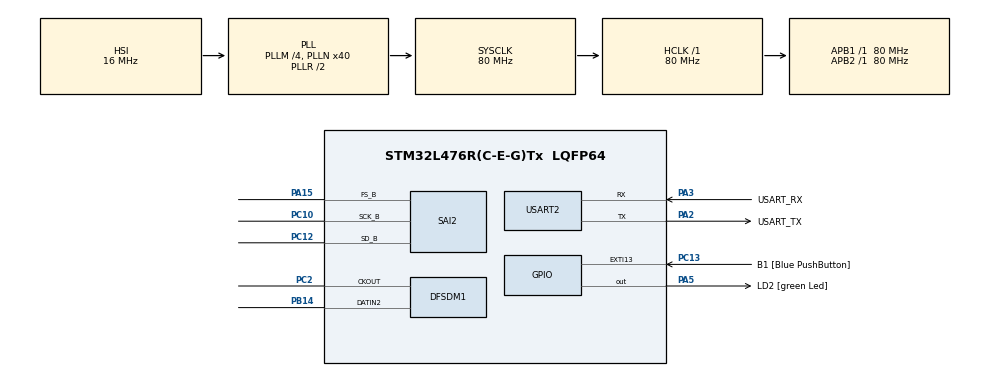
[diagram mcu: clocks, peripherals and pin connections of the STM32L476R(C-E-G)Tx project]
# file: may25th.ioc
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DFSDM1.Divider=25
DFSDM1.DmaMode_reg_FIL0=ENABLE
DFSDM1.FastMode_reg_FIL0=ENABLE
DFSDM1.Filter_regChannel_FIL0=DFSDM_CHANNEL_2
DFSDM1.Fosr_FIL0=67
Dma.DFSDM1_FLT0.1.Direction=DMA_PERIPH_TO_MEMORY
Dma.DFSDM1_FLT0.1.Instance=DMA1_Channel4
Dma.DFSDM1_FLT0.1.MemDataAlignment=DMA_MDATAALIGN_WORD
Dma.DFSDM1_FLT0.1.MemInc=DMA_MINC_ENABLE
Dma.DFSDM1_FLT0.1.Mode=DMA_CIRCULAR
Dma.DFSDM1_FLT0.1.PeriphDataAlignment=DMA_PDATAALIGN_WORD
Dma.DFSDM1_FLT0.1.PeriphInc=DMA_PINC_DISABLE
Dma.DFSDM1_FLT0.1.Priority=DMA_PRIORITY_LOW
Dma.Request0=SAI2_B
Dma.Request1=DFSDM1_FLT0
Dma.SAI2_B.0.Direction=DMA_MEMORY_TO_PERIPH
Dma.SAI2_B.0.Instance=DMA1_Channel7
Dma.SAI2_B.0.MemDataAlignment=DMA_MDATAALIGN_HALFWORD
Dma.SAI2_B.0.MemInc=DMA_MINC_ENABLE
Dma.SAI2_B.0.Mode=DMA_CIRCULAR
Dma.SAI2_B.0.PeriphDataAlignment=DMA_PDATAALIGN_HALFWORD
Dma.SAI2_B.0.PeriphInc=DMA_PINC_DISABLE
Dma.SAI2_B.0.Priority=DMA_PRIORITY_LOW
Mcu.Family=STM32L4
Mcu.Name=STM32L476R(C-E-G)Tx
Mcu.Package=LQFP64
NVIC.DMA1_Channel4_IRQn=true\:0\:0\:false\:false\:true\:false\:true\:true
NVIC.DMA1_Channel7_IRQn=true\:0\:0\:false\:false\:true\:false\:true\:true
NVIC.PriorityGroup=NVIC_PRIORITYGROUP_4
PA13\ (JTMS-SWDIO).GPIO_Label=TMS
PA13\ (JTMS-SWDIO).Mode=Serial_Wire
PA13\ (JTMS-SWDIO).Signal=SYS_JTMS-SWDIO
PA14\ (JTCK-SWCLK).GPIO_Label=TCK
PA14\ (JTCK-SWCLK).Mode=Serial_Wire
PA14\ (JTCK-SWCLK).Signal=SYS_JTCK-SWCLK
PA15\ (JTDI).Mode=SAI_B_Master
PA15\ (JTDI).Signal=SAI2_FS_B
PA2.GPIO_Label=USART_TX
PA2.GPIO_Mode=GPIO_MODE_AF_PP
PA2.GPIO_PuPd=GPIO_NOPULL
PA2.GPIO_Speed=GPIO_SPEED_FREQ_VERY_HIGH
PA2.Mode=Asynchronous
PA2.Signal=USART2_TX
PA3.GPIO_Label=USART_RX
PA3.GPIO_Mode=GPIO_MODE_AF_PP
PA3.GPIO_PuPd=GPIO_NOPULL
PA3.GPIO_Speed=GPIO_SPEED_FREQ_VERY_HIGH
PA3.Mode=Asynchronous
PA3.Signal=USART2_RX
PA5.GPIO_Label=LD2 [green Led]
PA5.GPIO_ModeDefaultOutputPP=GPIO_MODE_OUTPUT_PP
PA5.GPIO_PuPd=GPIO_NOPULL
PA5.GPIO_Speed=GPIO_SPEED_FREQ_LOW
PA5.Signal=GPIO_Output
PB14.Signal=S_DATAIN2DFSDM1
PB3\ (JTDO-TRACESWO).GPIO_Label=SWO
PB3\ (JTDO-TRACESWO).Signal=SYS_JTDO-SWO
PC10.Mode=SAI_B_Master
PC10.Signal=SAI2_SCK_B
PC12.Mode=SAI_B_Master
PC12.Signal=SAI2_SD_B
PC13.GPIO_Label=B1 [Blue PushButton]
PC13.GPIO_ModeDefaultEXTI=GPIO_MODE_IT_FALLING
PC13.GPIO_PuPd=GPIO_NOPULL
PC13.Signal=GPXTI13
PC14-OSC32_IN\ (PC14).Mode=LSE-External-Oscillator
PC14-OSC32_IN\ (PC14).Signal=RCC_OSC32_IN
PC15-OSC32_OUT\ (PC15).Mode=LSE-External-Oscillator
PC15-OSC32_OUT\ (PC15).Signal=RCC_OSC32_OUT
PC2.Signal=S_CKOUTDFSDM1
PH0-OSC_IN\ (PH0).Mode=HSE-External-Clock-Source
PH0-OSC_IN\ (PH0).Signal=RCC_OSC_IN
PH1-OSC_OUT\ (PH1).Signal=RCC_OSC_OUT
ProjectManager.HeapSize=0x200
ProjectManager.StackSize=0x400
ProjectManager.TargetToolchain=STM32CubeIDE
RCC.ADCFreq_Value=86000000
RCC.AHBFreq_Value=80000000
RCC.APB1Freq_Value=80000000
RCC.APB1TimFreq_Value=80000000
RCC.APB2Freq_Value=80000000
RCC.APB2TimFreq_Value=80000000
RCC.CortexFreq_Value=80000000
RCC.HCLKFreq_Value=80000000
RCC.HSE_VALUE=8000000
RCC.HSI_VALUE=16000000
RCC.MSI_VALUE=4000000
RCC.PLLM=4
RCC.PLLN=40
RCC.PLLSAI1N=43
RCC.PLLSAI2N=43
RCC.PLLSourceVirtual=RCC_PLLSOURCE_HSI
RCC.SYSCLKFreq_VALUE=80000000
RCC.SYSCLKSource=RCC_SYSCLKSOURCE_PLLCLK
RCC.USBFreq_Value=86000000
RCC.VCOOutputFreq_Value=160000000
SAI2.AudioFrequency-SAI_B_Master=SAI_AUDIO_FREQUENCY_48K
SAI2.ErrorAudioFreq-SAI_B_Master=-0.01 %
SAI2.InitProtocol-SAI_B_Master=Enable
SAI2.Instance-SAI_B_Master=SAI$Index_Block_B
SAI2.MClockEnable-SAI_B_Master=SAI_MASTERCLOCK_DISABLE
SAI2.MonoStereoMode-SAI_B_Master=SAI_STEREOMODE
SAI2.OutputDrive-SAI_B_Master=SAI_OUTPUTDRIVE_ENABLE
SAI2.RealAudioFreq-SAI_B_Master=47.991 KHz
SAI2.VirtualMode-SAI_B_Master=VM_MASTER
SAI2.VirtualProtocol-SAI_B_BASIC=VM_BASIC_PROTOCOL
SH.S_CKOUTDFSDM1.0=DFSDM1_CKOUT,PDM_SPI_input_from_ch2_and_internal_clock
SH.S_DATAIN2DFSDM1.0=DFSDM1_DATIN2,PDM_SPI_input_from_ch2_and_internal_clock
USART2.VirtualMode-Asynchronous=VM_ASYNC
VP_SAI2_VP_$IpInstance_SAIB_SAI_BASIC.Mode=SAI_B_BASIC
board=NUCLEO-L476RG

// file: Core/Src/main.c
/* USER CODE BEGIN Header */
/**
  ******************************************************************************
  * @file           : main.c
  * @brief          : Live DFSDM microphone to SAI2B/MAX98357 audio
  *                   Hardware: STM32 NUCLEO-L476RG + MAX98357 I2S Amplifier
  ******************************************************************************
  */
/* USER CODE END Header */
#include "main.h"

/* USER CODE BEGIN Includes */
#include <stdint.h>
#include <stdio.h>
#include <string.h>
/* USER CODE END Includes */

/* USER CODE BEGIN PD */
#define MIC_BUFFER_SAMPLES 256U
#define AUDIO_FRAMES       256U
#define FIFO_SAMPLES       4096U
#define FIFO_MASK          (FIFO_SAMPLES - 1U)
#define START_SAMPLES      1024U
#define MIC_GAIN           1.0f
#define OUTPUT_LIMIT       3000 /* Conservative initial PCM peak limit. */
#define REPORT_PERIOD_MS   500U
/* USER CODE END PD */

DFSDM_Filter_HandleTypeDef hdfsdm1_filter0;
DFSDM_Channel_HandleTypeDef hdfsdm1_channel2;
DMA_HandleTypeDef hdma_dfsdm1_flt0;

SAI_HandleTypeDef hsai_BlockB2;
DMA_HandleTypeDef hdma_sai2_b;

UART_HandleTypeDef huart2;

/* USER CODE BEGIN PV */
static int32_t mic_buffer[MIC_BUFFER_SAMPLES];
static int16_t audioBuffer[AUDIO_FRAMES * 2U];
static int16_t sample_fifo[FIFO_SAMPLES];
static volatile uint32_t fifo_write, fifo_read;
static float resample_phase, resample_step;
static float mic_rate, output_rate;
static float dc_input_previous, dc_output_previous;
static volatile uint32_t mic_blocks, tx_blocks;
static volatile uint32_t mic_errors, sai_errors;
static volatile uint32_t fifo_overruns, fifo_underruns, clipped_samples;
static volatile uint32_t mic_peak;
/* Both DMA IRQs have priority 0 in this project: callbacks cannot nest. */
/* USER CODE END PV */

void SystemClock_Config(void);
static void MX_GPIO_Init(void);
static void MX_DMA_Init(void);
static void MX_USART2_UART_Init(void);
static void MX_SAI2_Init(void);
static void MX_DFSDM1_Init(void);
/* USER CODE BEGIN PFP */
static void UART_Print(const char *text);
static void CaptureMicBlock(uint32_t start);
static void FillAudioHalf(uint32_t first_frame);
static void ConfigureResampling(void);
/* USER CODE END PFP */

/* USER CODE BEGIN 0 */
static void UART_Print(const char *text)
{
    (void)HAL_UART_Transmit(&huart2, (uint8_t *)text,
                           (uint16_t)strlen(text), 100U);
}

static void ConfigureResampling(void)
{
    /* Existing configuration: system-clock CKOUT, internal SPI clock,
       fast continuous conversion. First conversion includes filter settling. */
    mic_rate = (float)HAL_RCC_GetSysClockFreq() /
               ((float)hdfsdm1_channel2.Init.OutputClock.Divider *
                (float)hdfsdm1_filter0.Init.FilterParam.Oversampling *
                (float)hdfsdm1_filter0.Init.FilterParam.IntOversampling);
    uint32_t divider = hsai_BlockB2.Init.Mckdiv;
    uint32_t sai_clock = HAL_RCCEx_GetPeriphCLKFreq(RCC_PERIPHCLK_SAI2);
    /* STM32L476 with master divider enabled: MCLK = 256 * frame rate.
       MCKDIV=0 is the no-division case; otherwise clock divisor = 2*MCKDIV. */
    output_rate = (float)sai_clock /
                  (256.0f * (divider ? (2.0f * (float)divider) : 1.0f));
    if (mic_rate < 1.0f || output_rate < 1.0f) Error_Handler();
    resample_step = mic_rate / output_rate;
}

static void CaptureMicBlock(uint32_t start)
{
    uint32_t peak = 0U;
    for (uint32_t i = start; i < start + MIC_BUFFER_SAMPLES / 2U; ++i)
    {
        /* Full-word DMA reads FLTRDATAR. Low 8 bits contain metadata;
           signed audio occupies bits 31:8. Shift again for initial gain. */
        float x = (float)(mic_buffer[i] >> 8) * 0.5f;
        float y = x - dc_input_previous + 0.995f * dc_output_previous;
        dc_input_previous = x;
        dc_output_previous = y;
        y *= MIC_GAIN;
        uint32_t level = (uint32_t)(y < 0.0f ? -y : y);
        if (level > peak) peak = level;
        if (y > (float)OUTPUT_LIMIT) { y = OUTPUT_LIMIT; clipped_samples++; }
        if (y < -(float)OUTPUT_LIMIT) { y = -OUTPUT_LIMIT; clipped_samples++; }
        uint32_t w = fifo_write;
        if ((uint32_t)(w - fifo_read) >= FIFO_SAMPLES)
        {
            /* Drop new data if full; never overwrite unread samples. */
            fifo_overruns++;
            continue;
        }
        sample_fifo[w & FIFO_MASK] = (int16_t)y;
        __DMB();
        fifo_write = w + 1U;
    }
    if (peak > mic_peak) mic_peak = peak;
    mic_blocks++;
}

static void FillAudioHalf(uint32_t first_frame)
{
    uint32_t r = fifo_read;
    uint32_t w = fifo_write;
    float phase = resample_phase;
    /* Read only completed microphone data; refill only a completed TX half.
       Fractional interpolation compensates for the different clock rates. */
    for (uint32_t i = 0; i < AUDIO_FRAMES / 2U; ++i)
    {
        int16_t sample = 0;
        uint32_t advance = (uint32_t)(phase + resample_step);
        uint32_t required = advance > 1U ? advance : 2U;
        if ((uint32_t)(w - r) >= required)
        {
            float a = (float)sample_fifo[r & FIFO_MASK];
            float b = (float)sample_fifo[(r + 1U) & FIFO_MASK];
            sample = (int16_t)(a + (b - a) * phase);
            phase += resample_step;
            uint32_t consumed = (uint32_t)phase;
            r += consumed;
            phase -= (float)consumed;
        }
        else
        {
            fifo_underruns++;
            phase = 0.0f;
        }
        uint32_t slot = (first_frame + i) * 2U;
        audioBuffer[slot] = sample;
        audioBuffer[slot + 1U] = sample;
    }
    resample_phase = phase;
    __DMB();
    fifo_read = r;
}
/* USER CODE END 0 */

int main(void)
{

  /* MCU Configuration--------------------------------------------------------*/

  /* Reset of all peripherals, Initializes the Flash interface and the Systick. */
  HAL_Init();

  /* Configure the system clock */
  SystemClock_Config();

  /* Initialize all configured peripherals */
  MX_GPIO_Init();
  MX_DMA_Init();
  MX_USART2_UART_Init();
  MX_SAI2_Init();
  MX_DFSDM1_Init();
  /* USER CODE BEGIN 2 */
UART_Print("\r\nMIC -> DFSDM -> SAI2B -> MAX98357\r\n");
  ConfigureResampling();
  char message[180];
  snprintf(message, sizeof(message), "Capture ~%lu Hz; playback ~%lu Hz\r\n",
           (unsigned long)(mic_rate + 0.5f),
           (unsigned long)(output_rate + 0.5f));
  UART_Print(message);

  if (HAL_DFSDM_FilterRegularStart_DMA(&hdfsdm1_filter0, mic_buffer,
                                      MIC_BUFFER_SAMPLES) != HAL_OK)
  {
      UART_Print("ERROR: DFSDM DMA start failed\r\n");
      Error_Handler();
  }
  uint32_t wait_started = HAL_GetTick();
  while ((uint32_t)(fifo_write - fifo_read) < START_SAMPLES)
  {
      if ((uint32_t)(HAL_GetTick() - wait_started) > 1000U)
      {
          UART_Print("ERROR: microphone DMA did not fill startup buffer\r\n");
          Error_Handler();
      }
  }
  /* IRQs are briefly masked while both TX halves are filled before DMA starts. */
  uint32_t irq_state = __get_PRIMASK();
  __disable_irq();
  FillAudioHalf(0U);
  FillAudioHalf(AUDIO_FRAMES / 2U);
  __set_PRIMASK(irq_state);
  if (HAL_SAI_Transmit_DMA(&hsai_BlockB2, (uint8_t *)audioBuffer,
                           AUDIO_FRAMES * 2U) != HAL_OK)
  {
      UART_Print("ERROR: SAI DMA start failed\r\n");
      Error_Handler();
  }
  UART_Print("Live audio started. UART: 115200, 8N1.\r\n");
  uint32_t last_report = HAL_GetTick();
/* USER CODE END 2 */

  /* Infinite loop */
  while (1)
  {

    /* USER CODE BEGIN 3 */
if ((uint32_t)(HAL_GetTick() - last_report) >= REPORT_PERIOD_MS)
      {
          last_report = HAL_GetTick();
          uint32_t saved = __get_PRIMASK();
          __disable_irq();
          uint32_t mic = mic_blocks, tx = tx_blocks;
          uint32_t level = mic_peak;
          uint32_t fill = fifo_write - fifo_read;
          uint32_t under = fifo_underruns, over = fifo_overruns;
          uint32_t me = mic_errors, se = sai_errors, clip = clipped_samples;
          mic_peak = 0U;
          __set_PRIMASK(saved);
          snprintf(message, sizeof(message),
                   "mic=%lu tx=%lu peak=%lu fifo=%lu under=%lu over=%lu clip=%lu err=%lu/%lu\r\n",
                   (unsigned long)mic, (unsigned long)tx, (unsigned long)level,
                   (unsigned long)fill, (unsigned long)under, (unsigned long)over,
                   (unsigned long)clip, (unsigned long)me, (unsigned long)se);
          UART_Print(message);
          HAL_GPIO_TogglePin(LD2_GPIO_Port, LD2_Pin);
      }
  }
/* USER CODE END 3 */
}

void SystemClock_Config(void)
{
  RCC_OscInitTypeDef RCC_OscInitStruct = {0};
  RCC_ClkInitTypeDef RCC_ClkInitStruct = {0};

  /** Configure the main internal regulator output voltage
  */
  if (HAL_PWREx_ControlVoltageScaling(PWR_REGULATOR_VOLTAGE_SCALE1) != HAL_OK)
  {
    Error_Handler();
  }

  /** Initializes the RCC Oscillators according to the specified parameters
  * in the RCC_OscInitTypeDef structure.
  */
  RCC_OscInitStruct.OscillatorType = RCC_OSCILLATORTYPE_HSI;
  RCC_OscInitStruct.HSIState = RCC_HSI_ON;
  RCC_OscInitStruct.HSICalibrationValue = RCC_HSICALIBRATION_DEFAULT;
  RCC_OscInitStruct.PLL.PLLState = RCC_PLL_ON;
  RCC_OscInitStruct.PLL.PLLSource = RCC_PLLSOURCE_HSI;
  RCC_OscInitStruct.PLL.PLLM = 4;
  RCC_OscInitStruct.PLL.PLLN = 40;
  RCC_OscInitStruct.PLL.PLLP = RCC_PLLP_DIV7;
  RCC_OscInitStruct.PLL.PLLQ = RCC_PLLQ_DIV2;
  RCC_OscInitStruct.PLL.PLLR = RCC_PLLR_DIV2;
  if (HAL_RCC_OscConfig(&RCC_OscInitStruct) != HAL_OK)
  {
    Error_Handler();
  }

  /** Initializes the CPU, AHB and APB buses clocks
  */
  RCC_ClkInitStruct.ClockType = RCC_CLOCKTYPE_HCLK|RCC_CLOCKTYPE_SYSCLK
                              |RCC_CLOCKTYPE_PCLK1|RCC_CLOCKTYPE_PCLK2;
  RCC_ClkInitStruct.SYSCLKSource = RCC_SYSCLKSOURCE_PLLCLK;
  RCC_ClkInitStruct.AHBCLKDivider = RCC_SYSCLK_DIV1;
  RCC_ClkInitStruct.APB1CLKDivider = RCC_HCLK_DIV1;
  RCC_ClkInitStruct.APB2CLKDivider = RCC_HCLK_DIV1;

  if (HAL_RCC_ClockConfig(&RCC_ClkInitStruct, FLASH_LATENCY_4) != HAL_OK)
  {
    Error_Handler();
  }
}

static void MX_DFSDM1_Init(void)
{

  hdfsdm1_filter0.Instance = DFSDM1_Filter0;
  hdfsdm1_filter0.Init.RegularParam.Trigger = DFSDM_FILTER_SW_TRIGGER;
  hdfsdm1_filter0.Init.RegularParam.FastMode = ENABLE;
  hdfsdm1_filter0.Init.RegularParam.DmaMode = ENABLE;
  hdfsdm1_filter0.Init.FilterParam.SincOrder = DFSDM_FILTER_FASTSINC_ORDER;
  hdfsdm1_filter0.Init.FilterParam.Oversampling = 67;
  hdfsdm1_filter0.Init.FilterParam.IntOversampling = 1;
  if (HAL_DFSDM_FilterInit(&hdfsdm1_filter0) != HAL_OK)
  {
    Error_Handler();
  }
  hdfsdm1_channel2.Instance = DFSDM1_Channel2;
  hdfsdm1_channel2.Init.OutputClock.Activation = ENABLE;
  hdfsdm1_channel2.Init.OutputClock.Selection = DFSDM_CHANNEL_OUTPUT_CLOCK_SYSTEM;
  hdfsdm1_channel2.Init.OutputClock.Divider = 25;
  hdfsdm1_channel2.Init.Input.Multiplexer = DFSDM_CHANNEL_EXTERNAL_INPUTS;
  hdfsdm1_channel2.Init.Input.DataPacking = DFSDM_CHANNEL_STANDARD_MODE;
  hdfsdm1_channel2.Init.Input.Pins = DFSDM_CHANNEL_SAME_CHANNEL_PINS;
  hdfsdm1_channel2.Init.SerialInterface.Type = DFSDM_CHANNEL_SPI_RISING;
  hdfsdm1_channel2.Init.SerialInterface.SpiClock = DFSDM_CHANNEL_SPI_CLOCK_INTERNAL;
  hdfsdm1_channel2.Init.Awd.FilterOrder = DFSDM_CHANNEL_FASTSINC_ORDER;
  hdfsdm1_channel2.Init.Awd.Oversampling = 1;
  hdfsdm1_channel2.Init.Offset = 0;
  hdfsdm1_channel2.Init.RightBitShift = 0x00;
  if (HAL_DFSDM_ChannelInit(&hdfsdm1_channel2) != HAL_OK)
  {
    Error_Handler();
  }
  if (HAL_DFSDM_FilterConfigRegChannel(&hdfsdm1_filter0, DFSDM_CHANNEL_2, DFSDM_CONTINUOUS_CONV_ON) != HAL_OK)
  {
    Error_Handler();
  }

}

static void MX_SAI2_Init(void)
{

  hsai_BlockB2.Instance = SAI2_Block_B;
  hsai_BlockB2.Init.AudioMode = SAI_MODEMASTER_TX;
  hsai_BlockB2.Init.Synchro = SAI_ASYNCHRONOUS;
  hsai_BlockB2.Init.OutputDrive = SAI_OUTPUTDRIVE_ENABLE;
  hsai_BlockB2.Init.NoDivider = SAI_MASTERDIVIDER_ENABLE;
  hsai_BlockB2.Init.FIFOThreshold = SAI_FIFOTHRESHOLD_EMPTY;
  hsai_BlockB2.Init.AudioFrequency = SAI_AUDIO_FREQUENCY_48K;
  hsai_BlockB2.Init.SynchroExt = SAI_SYNCEXT_DISABLE;
  hsai_BlockB2.Init.MonoStereoMode = SAI_STEREOMODE;
  hsai_BlockB2.Init.CompandingMode = SAI_NOCOMPANDING;
  hsai_BlockB2.Init.TriState = SAI_OUTPUT_NOTRELEASED;
  if (HAL_SAI_InitProtocol(&hsai_BlockB2, SAI_I2S_STANDARD, SAI_PROTOCOL_DATASIZE_16BIT, 2) != HAL_OK)
  {
    Error_Handler();
  }

}

static void MX_USART2_UART_Init(void)
{

  huart2.Instance = USART2;
  huart2.Init.BaudRate = 115200;
  huart2.Init.WordLength = UART_WORDLENGTH_8B;
  huart2.Init.StopBits = UART_STOPBITS_1;
  huart2.Init.Parity = UART_PARITY_NONE;
  huart2.Init.Mode = UART_MODE_TX_RX;
  huart2.Init.HwFlowCtl = UART_HWCONTROL_NONE;
  huart2.Init.OverSampling = UART_OVERSAMPLING_16;
  huart2.Init.OneBitSampling = UART_ONE_BIT_SAMPLE_DISABLE;
  huart2.AdvancedInit.AdvFeatureInit = UART_ADVFEATURE_NO_INIT;
  if (HAL_UART_Init(&huart2) != HAL_OK)
  {
    Error_Handler();
  }

}

static void MX_DMA_Init(void)
{

  /* DMA controller clock enable */
  __HAL_RCC_DMA1_CLK_ENABLE();

  /* DMA interrupt init */
  /* DMA1_Channel4_IRQn interrupt configuration */
  HAL_NVIC_SetPriority(DMA1_Channel4_IRQn, 0, 0);
  HAL_NVIC_EnableIRQ(DMA1_Channel4_IRQn);
  /* DMA1_Channel7_IRQn interrupt configuration */
  HAL_NVIC_SetPriority(DMA1_Channel7_IRQn, 0, 0);
  HAL_NVIC_EnableIRQ(DMA1_Channel7_IRQn);

}

static void MX_GPIO_Init(void)
{
  GPIO_InitTypeDef GPIO_InitStruct = {0};

  /* GPIO Ports Clock Enable */
  __HAL_RCC_GPIOC_CLK_ENABLE();
  __HAL_RCC_GPIOH_CLK_ENABLE();
  __HAL_RCC_GPIOA_CLK_ENABLE();
  __HAL_RCC_GPIOB_CLK_ENABLE();

  /*Configure GPIO pin Output Level */
  HAL_GPIO_WritePin(LD2_GPIO_Port, LD2_Pin, GPIO_PIN_RESET);

  /*Configure GPIO pin : B1_Pin */
  GPIO_InitStruct.Pin = B1_Pin;
  GPIO_InitStruct.Mode = GPIO_MODE_IT_FALLING;
  GPIO_InitStruct.Pull = GPIO_NOPULL;
  HAL_GPIO_Init(B1_GPIO_Port, &GPIO_InitStruct);

  /*Configure GPIO pin : LD2_Pin */
  GPIO_InitStruct.Pin = LD2_Pin;
  GPIO_InitStruct.Mode = GPIO_MODE_OUTPUT_PP;
  GPIO_InitStruct.Pull = GPIO_NOPULL;
  GPIO_InitStruct.Speed = GPIO_SPEED_FREQ_LOW;
  HAL_GPIO_Init(LD2_GPIO_Port, &GPIO_InitStruct);

}

/* USER CODE BEGIN 4 */
void HAL_DFSDM_FilterRegConvHalfCpltCallback(DFSDM_Filter_HandleTypeDef *filter)
{
    if (filter == &hdfsdm1_filter0) CaptureMicBlock(0U);
}

void HAL_DFSDM_FilterRegConvCpltCallback(DFSDM_Filter_HandleTypeDef *filter)
{
    if (filter == &hdfsdm1_filter0) CaptureMicBlock(MIC_BUFFER_SAMPLES / 2U);
}

void HAL_DFSDM_FilterErrorCallback(DFSDM_Filter_HandleTypeDef *filter)
{
    if (filter == &hdfsdm1_filter0) mic_errors++;
}

void HAL_SAI_TxHalfCpltCallback(SAI_HandleTypeDef *sai)
{
    if (sai == &hsai_BlockB2) { FillAudioHalf(0U); tx_blocks++; }
}

void HAL_SAI_TxCpltCallback(SAI_HandleTypeDef *sai)
{
    if (sai == &hsai_BlockB2) { FillAudioHalf(AUDIO_FRAMES / 2U); tx_blocks++; }
}

void HAL_SAI_ErrorCallback(SAI_HandleTypeDef *sai)
{
    if (sai == &hsai_BlockB2) sai_errors++;
}
/* USER CODE END 4 */

void Error_Handler(void)
{
  __disable_irq();
  while (1)
  {
  }
}
